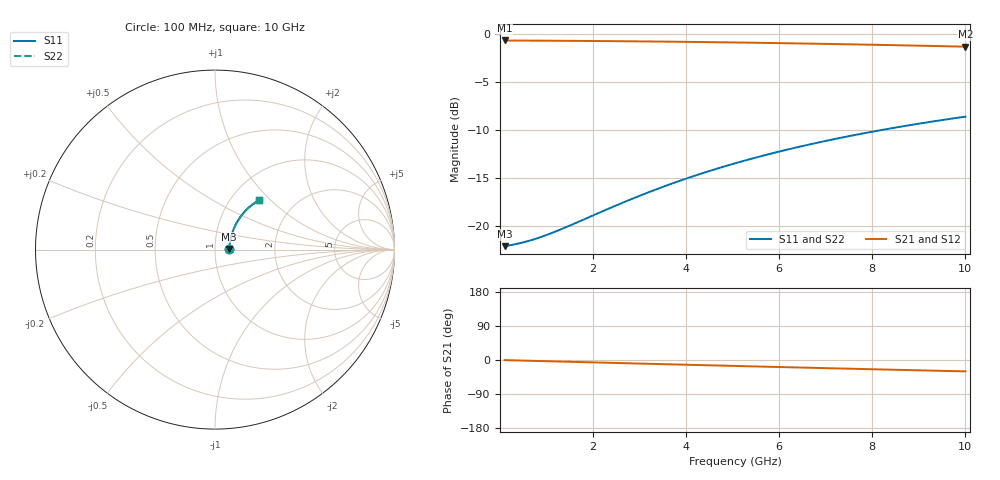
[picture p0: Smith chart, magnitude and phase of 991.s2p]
# Hz S RI R 50.00
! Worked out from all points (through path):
!   100 points, 100 MHz to 10 GHz, reference 50 ohm
!   highest |S21| = -0.71 dB at 100 MHz (marker M1); lowest = -1.4 dB at 10 GHz (marker M2)
!   group delay of S21, straight-line fit = 8.36 ps
!   lowest |S11| = -22.0 dB at 100 MHz (marker M3), VSWR 1.17, Z = 58.6 + j0.421 ohm
!   |S11| at or under -10 dB: start of sweep to 8.203 GHz
!   |S22| runs from -22.0 to -8.6 dB; largest |S21 - S12| = 0
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1e8  0.0789 0.00357  0.9211 -0.00507  0.9211 -0.00507  0.0789 0.00357
3e8  0.0799 0.0107  0.9201 -0.0152  0.9201 -0.0152  0.0799 0.0107
5e8  0.0807 0.0178  0.9192 -0.0253  0.9192 -0.0253  0.0807 0.0178
8e8  0.082 0.0284  0.9179 -0.0404  0.9179 -0.0404  0.082 0.0284
1e9  0.083 0.0354  0.9168 -0.0504  0.9168 -0.0504  0.083 0.0354
1.2e9  0.0842 0.0424  0.9157 -0.0604  0.9157 -0.0604  0.0842 0.0424
1.8e9  0.0883 0.0632  0.9113 -0.0903  0.9113 -0.0903  0.0883 0.0632
2.3e9  0.0926 0.0803  0.9067 -0.1149  0.9067 -0.1149  0.0926 0.0803
2.7e9  0.0967 0.0937  0.9024 -0.1343  0.9024 -0.1343  0.0967 0.0937
3.1e9  0.1013 0.1069  0.8975 -0.1535  0.8975 -0.1535  0.1013 0.1069
3.4e9  0.1052 0.1166  0.8934 -0.1678  0.8934 -0.1678  0.1052 0.1166
3.8e9  0.1107 0.1293  0.8875 -0.1865  0.8875 -0.1865  0.1107 0.1293
4.2e9  0.1168 0.1417  0.8811 -0.2049  0.8811 -0.2049  0.1168 0.1417
4.6e9  0.1233 0.1538  0.8741 -0.2231  0.8741 -0.2231  0.1233 0.1538
5.1e9  0.1321 0.1684  0.8647 -0.2452  0.8647 -0.2452  0.1321 0.1684
5.5e9  0.1397 0.1796  0.8567 -0.2625  0.8567 -0.2625  0.1397 0.1796
5.9e9  0.1477 0.1905  0.8481 -0.2795  0.8481 -0.2795  0.1477 0.1905
6.7e9  0.1648 0.211  0.8298 -0.3121  0.8298 -0.3121  0.1648 0.211
7.5e9  0.1832 0.2297  0.81 -0.343  0.81 -0.343  0.1832 0.2297
8.4e9  0.2054 0.2485  0.7861 -0.3756  0.7861 -0.3756  0.2054 0.2485
9.2e9  0.2261 0.2633  0.7638 -0.4026  0.7638 -0.4026  0.2261 0.2633
1e10  0.2474 0.2761  0.7405 -0.4278  0.7405 -0.4278  0.2474 0.2761
